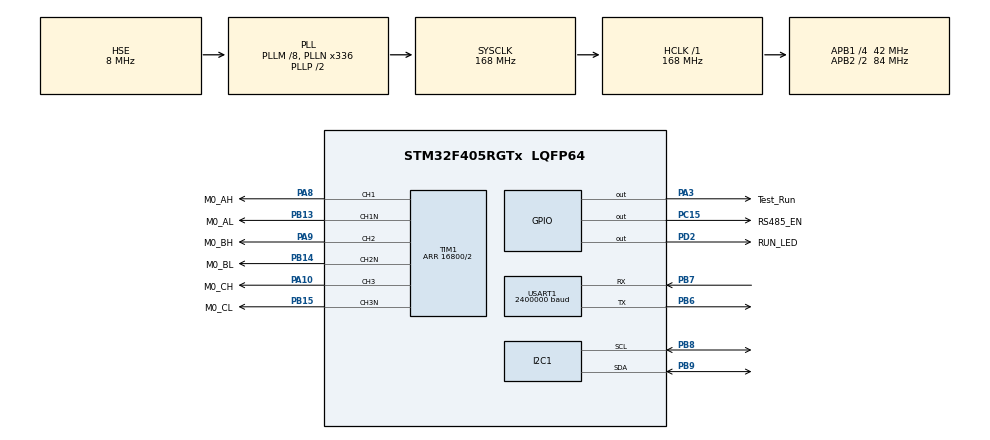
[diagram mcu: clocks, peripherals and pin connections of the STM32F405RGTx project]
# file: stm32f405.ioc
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Dma.Request0=USART1_RX
Dma.USART1_RX.0.Direction=DMA_PERIPH_TO_MEMORY
Dma.USART1_RX.0.FIFOMode=DMA_FIFOMODE_DISABLE
Dma.USART1_RX.0.Instance=DMA2_Stream2
Dma.USART1_RX.0.MemDataAlignment=DMA_MDATAALIGN_BYTE
Dma.USART1_RX.0.MemInc=DMA_MINC_ENABLE
Dma.USART1_RX.0.Mode=DMA_NORMAL
Dma.USART1_RX.0.PeriphDataAlignment=DMA_PDATAALIGN_BYTE
Dma.USART1_RX.0.PeriphInc=DMA_PINC_DISABLE
Dma.USART1_RX.0.Priority=DMA_PRIORITY_HIGH
Mcu.Family=STM32F4
Mcu.Name=STM32F405RGTx
Mcu.Package=LQFP64
NVIC.DMA2_Stream2_IRQn=true\:0\:0\:false\:false\:true\:false\:true\:true
NVIC.PriorityGroup=NVIC_PRIORITYGROUP_4
NVIC.TIM1_UP_TIM10_IRQn=true\:1\:0\:true\:false\:true\:true\:true\:true
NVIC.TIM8_TRG_COM_TIM14_IRQn=true\:1\:0\:true\:false\:true\:true\:true\:true
NVIC.USART1_IRQn=true\:1\:0\:true\:false\:true\:true\:true\:true
PA10.GPIO_Label=M0_CH
PA10.GPIO_Speed=GPIO_SPEED_FREQ_HIGH
PA10.Signal=S_TIM1_CH3
PA13.Mode=Serial_Wire
PA13.Signal=SYS_JTMS-SWDIO
PA14.Mode=Serial_Wire
PA14.Signal=SYS_JTCK-SWCLK
PA3.GPIO_Label=Test_Run
PA3.GPIO_PuPd=GPIO_PULLDOWN
PA3.GPIO_Speed=GPIO_SPEED_FREQ_VERY_HIGH
PA3.PinState=GPIO_PIN_RESET
PA3.Signal=GPIO_Output
PA8.GPIO_Label=M0_AH
PA8.GPIO_Speed=GPIO_SPEED_FREQ_HIGH
PA8.Signal=S_TIM1_CH1
PA9.GPIO_Label=M0_BH
PA9.GPIO_Speed=GPIO_SPEED_FREQ_HIGH
PA9.Signal=S_TIM1_CH2
PB13.GPIO_Label=M0_AL
PB13.GPIO_Speed=GPIO_SPEED_FREQ_HIGH
PB13.Mode=PWM Generation1 CH1 CH1N
PB13.Signal=TIM1_CH1N
PB14.GPIO_Label=M0_BL
PB14.GPIO_Speed=GPIO_SPEED_FREQ_HIGH
PB14.Mode=PWM Generation2 CH2 CH2N
PB14.Signal=TIM1_CH2N
PB15.GPIO_Label=M0_CL
PB15.GPIO_Speed=GPIO_SPEED_FREQ_HIGH
PB15.Mode=PWM Generation3 CH3 CH3N
PB15.Signal=TIM1_CH3N
PB6.GPIO_Speed=GPIO_SPEED_FREQ_HIGH
PB6.Mode=Asynchronous
PB6.Signal=USART1_TX
PB7.GPIO_Speed=GPIO_SPEED_FREQ_HIGH
PB7.Mode=Asynchronous
PB7.Signal=USART1_RX
PB8.Mode=I2C
PB8.Signal=I2C1_SCL
PB9.Mode=I2C
PB9.Signal=I2C1_SDA
PC15-OSC32_OUT.GPIO_Label=RS485_EN
PC15-OSC32_OUT.GPIO_PuPd=GPIO_PULLDOWN
PC15-OSC32_OUT.GPIO_Speed=GPIO_SPEED_FREQ_LOW
PC15-OSC32_OUT.PinState=GPIO_PIN_RESET
PC15-OSC32_OUT.Signal=GPIO_Output
PD2.GPIO_Label=RUN_LED
PD2.GPIO_PuPd=GPIO_PULLDOWN
PD2.GPIO_Speed=GPIO_SPEED_FREQ_MEDIUM
PD2.PinState=GPIO_PIN_RESET
PD2.Signal=GPIO_Output
PH0-OSC_IN.Mode=HSE-External-Oscillator
PH0-OSC_IN.Signal=RCC_OSC_IN
PH1-OSC_OUT.Mode=HSE-External-Oscillator
PH1-OSC_OUT.Signal=RCC_OSC_OUT
ProjectManager.HeapSize=0x200
ProjectManager.StackSize=0x400
ProjectManager.TargetToolchain=MDK-ARM V5.32
RCC.48MHZClocksFreq_Value=84000000
RCC.AHBFreq_Value=168000000
RCC.APB1CLKDivider=RCC_HCLK_DIV4
RCC.APB1Freq_Value=42000000
RCC.APB1TimFreq_Value=84000000
RCC.APB2CLKDivider=RCC_HCLK_DIV2
RCC.APB2Freq_Value=84000000
RCC.APB2TimFreq_Value=168000000
RCC.CortexFreq_Value=168000000
RCC.HCLKFreq_Value=168000000
RCC.HSE_VALUE=8000000
RCC.HSI_VALUE=16000000
RCC.LSE_VALUE=32768
RCC.PLLM=8
RCC.PLLN=336
RCC.PLLSourceVirtual=RCC_PLLSOURCE_HSE
RCC.SYSCLKFreq_VALUE=168000000
RCC.SYSCLKSource=RCC_SYSCLKSOURCE_PLLCLK
RCC.VCOOutputFreq_Value=336000000
SH.S_TIM1_CH1.0=TIM1_CH1,PWM Generation1 CH1 CH1N
SH.S_TIM1_CH2.0=TIM1_CH2,PWM Generation2 CH2 CH2N
SH.S_TIM1_CH3.0=TIM1_CH3,PWM Generation3 CH3 CH3N
TIM1.AutoReloadPreload=TIM_AUTORELOAD_PRELOAD_ENABLE
TIM1.Channel-PWM\ Generation1\ CH1\ CH1N=TIM_CHANNEL_1
TIM1.Channel-PWM\ Generation2\ CH2\ CH2N=TIM_CHANNEL_2
TIM1.Channel-PWM\ Generation3\ CH3\ CH3N=TIM_CHANNEL_3
TIM1.CounterMode=TIM_COUNTERMODE_CENTERALIGNED1
TIM1.DeadTime=100
TIM1.OCMode_PWM-PWM\ Generation1\ CH1\ CH1N=TIM_OCMODE_PWM2
TIM1.OCMode_PWM-PWM\ Generation2\ CH2\ CH2N=TIM_OCMODE_PWM2
TIM1.OCMode_PWM-PWM\ Generation3\ CH3\ CH3N=TIM_OCMODE_PWM2
TIM1.Period=16800/2
TIM1.Pulse-PWM\ Generation1\ CH1\ CH1N=4200
TIM1.Pulse-PWM\ Generation2\ CH2\ CH2N=4200
TIM1.Pulse-PWM\ Generation3\ CH3\ CH3N=4200
TIM1.RepetitionCounter=1
TIM1.TIM_MasterOutputTrigger=TIM_TRGO_UPDATE
TIM14.AutoReloadPreload=TIM_AUTORELOAD_PRELOAD_ENABLE
TIM14.Period=65
TIM14.Prescaler=84-1
USART1.BaudRate=2400000
USART1.VirtualMode=VM_ASYNC
VP_TIM14_VS_ClockSourceINT.Mode=Enable_Timer
VP_TIM1_VS_ClockSourceINT.Mode=Internal
board=custom

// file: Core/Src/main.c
/* USER CODE BEGIN Header */
/**
  ******************************************************************************
  * @file           : main.c
  * @brief          : Main program body
  ******************************************************************************
  * @attention
  *
  * Copyright (c) 2024 STMicroelectronics.
  * All rights reserved.
  *
  * This software is licensed under terms that can be found in the LICENSE file
  * in the root directory of this software component.
  * If no LICENSE file comes with this software, it is provided AS-IS.
  *
  ******************************************************************************
  */
/* USER CODE END Header */
#include "main.h"
#include "dma.h"
#include "i2c.h"
#include "tim.h"
#include "usart.h"
#include "gpio.h"

void SystemClock_Config(void);

int main(void)
{

  /* MCU Configuration--------------------------------------------------------*/

  /* Reset of all peripherals, Initializes the Flash interface and the Systick. */
  HAL_Init();

  /* Configure the system clock */
  SystemClock_Config();

  /* Initialize all configured peripherals */
  MX_GPIO_Init();
  MX_DMA_Init();
  MX_TIM1_Init();
  MX_USART1_UART_Init();
  MX_I2C1_Init();
  MX_TIM14_Init();
  /* USER CODE BEGIN 2 */
  HAL_TIM_Base_Start(&htim1);
  HAL_TIM_PWM_Start(&htim1, TIM_CHANNEL_1);
  HAL_TIMEx_PWMN_Start(&htim1, TIM_CHANNEL_1);
  HAL_TIM_PWM_Start(&htim1, TIM_CHANNEL_2);
  HAL_TIMEx_PWMN_Start(&htim1, TIM_CHANNEL_2);
  HAL_TIM_PWM_Start(&htim1, TIM_CHANNEL_3);
  HAL_TIMEx_PWMN_Start(&htim1, TIM_CHANNEL_3);

  __HAL_TIM_SET_COMPARE(&htim1, TIM_CHANNEL_1, 4200);
  __HAL_TIM_SET_COMPARE(&htim1, TIM_CHANNEL_2, 4200);
  __HAL_TIM_SET_COMPARE(&htim1, TIM_CHANNEL_3, 4200);

  /* USER CODE END 2 */

  /* Infinite loop */
  while (1)
  {

    /* USER CODE BEGIN 3 */
    HAL_GPIO_TogglePin(RUN_LED_GPIO_Port,RUN_LED_Pin);
    HAL_Delay(200);
  }
  /* USER CODE END 3 */
}

void SystemClock_Config(void)
{
  RCC_OscInitTypeDef RCC_OscInitStruct = {0};
  RCC_ClkInitTypeDef RCC_ClkInitStruct = {0};

  /** Configure the main internal regulator output voltage
  */
  __HAL_RCC_PWR_CLK_ENABLE();
  __HAL_PWR_VOLTAGESCALING_CONFIG(PWR_REGULATOR_VOLTAGE_SCALE1);

  /** Initializes the RCC Oscillators according to the specified parameters
  * in the RCC_OscInitTypeDef structure.
  */
  RCC_OscInitStruct.OscillatorType = RCC_OSCILLATORTYPE_HSE;
  RCC_OscInitStruct.HSEState = RCC_HSE_ON;
  RCC_OscInitStruct.PLL.PLLState = RCC_PLL_ON;
  RCC_OscInitStruct.PLL.PLLSource = RCC_PLLSOURCE_HSE;
  RCC_OscInitStruct.PLL.PLLM = 8;
  RCC_OscInitStruct.PLL.PLLN = 336;
  RCC_OscInitStruct.PLL.PLLP = RCC_PLLP_DIV2;
  RCC_OscInitStruct.PLL.PLLQ = 4;
  if (HAL_RCC_OscConfig(&RCC_OscInitStruct) != HAL_OK)
  {
    Error_Handler();
  }

  /** Initializes the CPU, AHB and APB buses clocks
  */
  RCC_ClkInitStruct.ClockType = RCC_CLOCKTYPE_HCLK|RCC_CLOCKTYPE_SYSCLK
                              |RCC_CLOCKTYPE_PCLK1|RCC_CLOCKTYPE_PCLK2;
  RCC_ClkInitStruct.SYSCLKSource = RCC_SYSCLKSOURCE_PLLCLK;
  RCC_ClkInitStruct.AHBCLKDivider = RCC_SYSCLK_DIV1;
  RCC_ClkInitStruct.APB1CLKDivider = RCC_HCLK_DIV4;
  RCC_ClkInitStruct.APB2CLKDivider = RCC_HCLK_DIV2;

  if (HAL_RCC_ClockConfig(&RCC_ClkInitStruct, FLASH_LATENCY_5) != HAL_OK)
  {
    Error_Handler();
  }
}

/* USER CODE BEGIN 4 */
void HAL_TIM_PeriodElapsedCallback(TIM_HandleTypeDef *htim)
{
    if (htim->Instance == TIM1)
    {
        HAL_GPIO_TogglePin(Test_Run_GPIO_Port, Test_Run_Pin);
    }
}

/* USER CODE END 4 */

void Error_Handler(void)
{
  __disable_irq();
  while (1)
  {
  }
}
